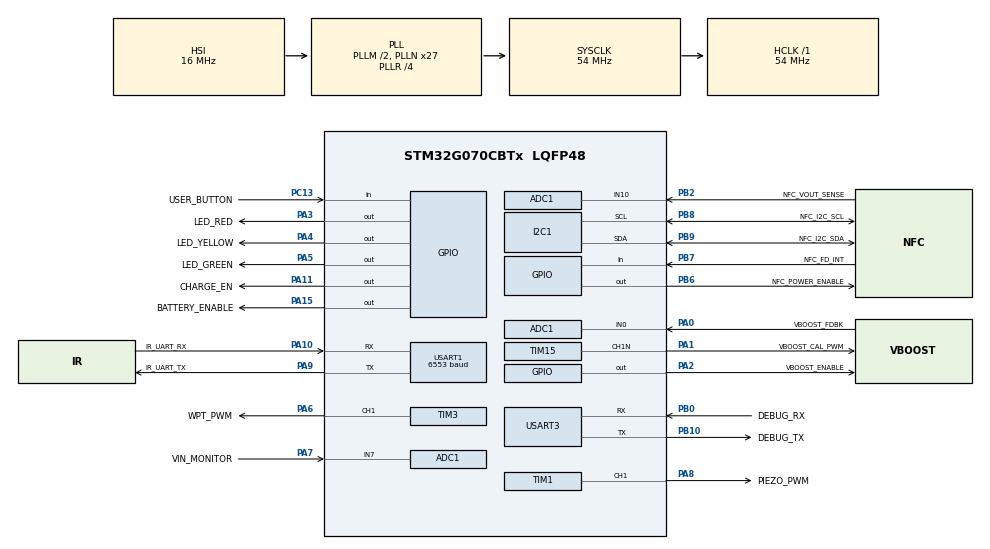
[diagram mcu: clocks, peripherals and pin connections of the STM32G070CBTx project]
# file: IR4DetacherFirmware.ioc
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ADC1.Channel-0\#ChannelRegularConversion=ADC_CHANNEL_10
ADC1.NbrOfConversionFlag=1
ADC1.Rank-0\#ChannelRegularConversion=1
ADC1.SamplingTime-0\#ChannelRegularConversion=ADC_SAMPLINGTIME_COMMON_1
ADC1.SelectedChannel=ADC_CHANNEL_0|ADC_CHANNEL_7|ADC_CHANNEL_10
ADC1.master=1
I2C1.Timing=0x10906999
Mcu.Family=STM32G0
Mcu.Name=STM32G070CBTx
Mcu.Package=LQFP48
NVIC.ADC1_IRQn=true\:0\:0\:false\:false\:true\:true\:true\:false
NVIC.USART1_IRQn=true\:1\:0\:true\:false\:true\:true\:true\:true
NVIC.USART3_4_IRQn=true\:0\:0\:false\:false\:true\:true\:true\:true
PA0.GPIO_Label=VBOOST_FDBK
PA0.Mode=IN0
PA0.Signal=ADC1_IN0
PA1.GPIO_Label=VBOOST_CAL_PWM
PA1.Mode=PWM Generation1 CH1N
PA1.Signal=TIM15_CH1N
PA10.GPIO_Label=IR_UART_RX
PA10.Mode=Asynchronous
PA10.Signal=USART1_RX
PA11\ [PA9].GPIO_Label=CHARGE_EN
PA11\ [PA9].Signal=GPIO_Output
PA13.Mode=Serial_Wire
PA13.Signal=SYS_SWDIO
PA14-BOOT0.Mode=Serial_Wire
PA14-BOOT0.Signal=SYS_SWCLK
PA15.GPIO_Label=BATTERY_ENABLE
PA15.Signal=GPIO_Output
PA2.GPIO_Label=VBOOST_ENABLE
PA2.Signal=GPIO_Output
PA3.GPIO_Label=LED_RED
PA3.Signal=GPIO_Output
PA4.GPIO_Label=LED_YELLOW
PA4.Signal=GPIO_Output
PA5.GPIO_Label=LED_GREEN
PA5.Signal=GPIO_Output
PA6.GPIO_Label=WPT_PWM
PA6.Signal=S_TIM3_CH1
PA7.GPIO_Label=VIN_MONITOR
PA7.Mode=IN7
PA7.Signal=ADC1_IN7
PA8.GPIO_Label=PIEZO_PWM
PA8.Signal=S_TIM1_CH1
PA9.GPIO_Label=IR_UART_TX
PA9.Mode=Asynchronous
PA9.Signal=USART1_TX
PB0.GPIO_Label=DEBUG_RX
PB0.Mode=Asynchronous
PB0.Signal=USART3_RX
PB10.GPIO_Label=DEBUG_TX
PB10.Mode=Asynchronous
PB10.Signal=USART3_TX
PB2.GPIO_Label=NFC_VOUT_SENSE
PB2.Mode=IN10
PB2.Signal=ADC1_IN10
PB6.GPIO_Label=NFC_POWER_ENABLE
PB6.Signal=GPIO_Output
PB7.GPIO_Label=NFC_FD_INT
PB7.Signal=GPIO_Input
PB8.GPIO_Label=NFC_I2C_SCL
PB8.Mode=I2C
PB8.Signal=I2C1_SCL
PB9.GPIO_Label=NFC_I2C_SDA
PB9.Mode=I2C
PB9.Signal=I2C1_SDA
PC13.GPIO_Label=USER_BUTTON
PC13.Signal=GPIO_Input
ProjectManager.HeapSize=0x200
ProjectManager.StackSize=0x400
ProjectManager.TargetToolchain=STM32CubeIDE
RCC.ADCFreq_Value=54000000
RCC.AHBFreq_Value=54000000
RCC.CortexFreq_Value=54000000
RCC.EXTERNAL_CLOCK_VALUE=48000
RCC.HCLKFreq_Value=54000000
RCC.HSE_VALUE=8000000
RCC.HSI_VALUE=16000000
RCC.LSE_VALUE=32768
RCC.PLLM=RCC_PLLM_DIV2
RCC.PLLN=27
RCC.PLLR=RCC_PLLR_DIV4
RCC.SYSCLKFreq_VALUE=54000000
RCC.SYSCLKSource=RCC_SYSCLKSOURCE_PLLCLK
RCC.USBFreq_Value=64000000
RCC.VCOOutputFreq_Value=216000000
SH.S_TIM1_CH1.0=TIM1_CH1,PWM Generation1 CH1
SH.S_TIM3_CH1.0=TIM3_CH1,PWM Generation1 CH1
TIM1.Channel-PWM\ Generation1\ CH1=TIM_CHANNEL_1
TIM1.Period=PIEZO_PWM_ARR_VAL
TIM1.Prescaler=PIEZO_PWM_PRESCALER
TIM1.Pulse-PWM\ Generation1\ CH1=49
TIM15.Channel-PWM\ Generation1\ CH1N=TIM_CHANNEL_1
TIM15.Period=VBOOST_ARR_VAL
TIM15.Prescaler=VBOOST_PRESCALER
TIM15.Pulse-PWM\ Generation1\ CH1N=GetVboostPwmDutyCyclePct()
TIM3.Channel-PWM\ Generation1\ CH1=TIM_CHANNEL_1
TIM3.Period=WPT_PWM_ARR_VAL
TIM3.Prescaler=WPT_PWM_PRESCALER
TIM6.AutoReloadPreload=TIM_AUTORELOAD_PRELOAD_DISABLE
TIM6.Period=0
TIM6.Prescaler=BLOCKING_DELAY_PRESCALER
TIM6.TIM_MasterOutputTrigger=TIM_TRGO_UPDATE
USART1.BaudRate=6553
USART1.VirtualMode-Asynchronous=VM_ASYNC
USART3.VirtualMode-Asynchronous=VM_ASYNC
VP_IWDG_VS_IWDG.Mode=IWDG_Activate
VP_SYS_VS_DBSignals.Mode=DisableDeadBatterySignals
VP_TIM15_VS_ClockSourceINT.Mode=Internal
VP_TIM1_VS_ClockSourceINT.Mode=Internal
VP_TIM3_VS_ClockSourceINT.Mode=Internal
VP_TIM6_VS_ClockSourceINT.Mode=Enable_Timer
board=custom

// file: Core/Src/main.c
/* USER CODE BEGIN Header */
/**
  ******************************************************************************
  * @file           : main.c
  * @brief          : Main program body
  ******************************************************************************
  * @attention
  *
  * Copyright (c) 2025 STMicroelectronics.
  * All rights reserved.
  *
  * This software is licensed under terms that can be found in the LICENSE file
  * in the root directory of this software component.
  * If no LICENSE file comes with this software, it is provided AS-IS.
  *
  ******************************************************************************
  */

/*******************************************************************************************
 * InVue:
 * This file was create by the hardware configuration tool in the STM32CubeIDE. It had been
 * removed from the build using the Resource configurations menu that is accessed by right
 * clicking on this files name in the Core/Src folder.
 *
 * the InVue main.c file resides in the Application/Src folder. It uses  functions from
 * submod-hal_generic to call functions that interface with the STMicro HAL functions.
 * THis is done in the hope that wrapping the HAL functions with the functions externed in
 * folder submod-hal_generic/HAL_Generic will make it easier to port this code to a different
 * processor should that become necessary.
 *
 *******************************************************************************************/

/**********************************
 * File: main.c
 * InVue Security Products
 * Copyright 2025
 **********************************/

/* USER CODE END Header */
#include "main.h"
#include "adc.h"
#include "i2c.h"
#include "iwdg.h"
#include "tim.h"
#include "usart.h"
#include "gpio.h"

/* USER CODE BEGIN Includes */
#include "hal_gpio.h"
#include "hal_timer.h"
#include "hal_watchdog.h"
#include "WptController.h"
#include "periphdefs.h"
#include "UtilDebounce.h"
#include "VboostHandler.h"
#include "audio_controller.h"
#include "ir_key_glue.h"
#include "rtt_debug.h"
#include "AppUart.h"

/* USER CODE END Includes */

/* USER CODE BEGIN PD */
#define LOOP_THROTTLE_INTERVAL (10) // milliseconds

#define AUDIO_TASK_INTERVAL_MS (5)
/* USER CODE END PD */

void SystemClock_Config(void);

int main(void)
{

  /* USER CODE BEGIN 1 */
	static uint32_t TickSinceLastExecution	= 0;
	static uint32_t LastExecutionTickCount		= 0;

	static bool Authorized			= false;
	static bool ValidSdcIsPresent	= false;
	static bool buttonPressed		= false;

	bool chirp = true;

  /* USER CODE END 1 */

  /* MCU Configuration--------------------------------------------------------*/

  /* Reset of all peripherals, Initializes the Flash interface and the Systick. */
  HAL_Init();

  /* USER CODE BEGIN Init */
  #if 0
	/* initialize flash buffer and systick */
	hal_init();
	// HAL_Init(); // TODO: decide which hal init function to use.

	/* initialize the WDT */
	// al_watchdog_init(); TODO: Enable the watch dog?

	/* configure SYSCLK, AHB, APB1 and APB2 to 32MHz for the Murata module requirements */
	SystemClock_Config();

	/* configure part to prevent ESD reset events or other undesirable behavior */
	hal_system_disable_reset_and_nmi_pins();

	/* init GPIO */
	hal_gpio_init();

	/* reset the WDT */
	// hal_watchdog_reset();
 #endif

  /* USER CODE END Init */

  /* Configure the system clock */
  SystemClock_Config();

  /* USER CODE BEGIN SysInit */

  // Update the SystemCoreClock variable. Note that this function must be called any time that the
  // system clock is changed.
  SystemCoreClockUpdate();

  hal_gpio_init();

  MX_I2C1_Init();

  MX_ADC1_Init();

  // The Vboost duty cycle must be retrieved from flash before initializing the VBoost PWM timer.
  GetVBoostVboostPwmDutyCyclePctFromFlash();

  hal_timer_init();

  WptControllerInit();

#if 0
    // TODO: decide what to do with these initialization function call:
	hal_interrupts_enable();
#endif

	irkey_gl_init(IR_INTERFACE_UART_INDEX);

#if 0
	// Call initialization functions setup in the Device COnfiguration Tool.
  /* USER CODE END SysInit */

  /* Initialize all configured peripherals */
  MX_GPIO_Init();
  MX_I2C1_Init();
  MX_USART1_UART_Init();
  MX_TIM1_Init();
  MX_TIM3_Init();
  MX_ADC1_Init();
  MX_IWDG_Init();
  MX_USART3_UART_Init();
  MX_TIM6_Init();
  MX_TIM15_Init();
  /* USER CODE BEGIN 2 */
#endif
  hal_watchdog_init(); // Initialize the the watch dog handle in submod-hal_generic

  /* USER CODE END 2 */

  /* Infinite loop */
  /* USER CODE BEGIN WHILE */
  static uint32_t LastLoopTick = 0;

  static uint32_t TicksinceLastLoop = 0;

  // Turn on the red LED to indicate that we have power but we are not authorized.
  while (1)
  {
	  // Get the number of milliseconds since the last trip through this loop:
	  TicksinceLastLoop = hal_timer_get_ticks_since_count(LastLoopTick);

	  // Get the current sys tick.
	  LastLoopTick = hal_timer_get_systick();

	  /* reset the WDT */
	  hal_watchdog_reset();

	  ac_audio_controller((uint16_t) TicksinceLastLoop);

      UtilDebounceReadAndDebounceInputs();

      TickSinceLastExecution = hal_timer_get_ticks_since_count(LastExecutionTickCount);

	  if (LOOP_THROTTLE_INTERVAL <= TickSinceLastExecution)
	  {
		  irKey_gl_HandleTimers(TickSinceLastExecution);

		  LastExecutionTickCount = hal_timer_get_systick();

		  // Check for NFC activity

		  // Check for IR input activity
#if 0
		  if ((true == IRCommsDetacherIsAuthorized()) && (true == ValidSdcIsPresent))
#endif
		  {
			  /* reset the WDT */
			  hal_watchdog_reset();

			  irkey_gl_key_handler();

			  // check debounced button and interrupt inputs
			  if (false == buttonPressed)
			  {
			      // Check the User Button to see if it was just pressed.
				  if (UtilDebounceCheckPinState(USER_BUTTON,BUTTON_PRESSED) == true)
				  {
#if USE_RTT_FOR_DEBUGGING && DEBUG_MAIN // Note that both of these are #defined to 1 in periphdefs.h.
			debug_rtt_printf("main() The user button has been pressed.\r\n");
#endif
					  buttonPressed = true;

					  // Activate the WPT PWM
					  hal_timer_RunPwAtDutyCycle(TIMER_WPT_PWM, PWM_DEFAULT_DUTY_CYCLE);

					  // Activate Vboost PWM
					  VboostStartPWM();

					  //hal_timer_RunPwAtDutyCycle(TIMER_VBOOST_CAL_PWM, PWM_DEFAULT_DUTY_CYCLE);

					  // Activate Piezo PWM
					  // hal_timer_RunPwAtDutyCycle(TIMER_PIEZO_PWM, PWM_DEFAULT_DUTY_CYCLE);
					  // Do one chirp

					  if (chirp == true)
					  {
					     ac_chirp(1);
					     chirp = false;
					     hal_gpio_set_output(LED_GREEN,true);
					  }
					  else
					  {
						  ac_error_tone(1);
						  chirp = true;
						     hal_gpio_set_output(LED_GREEN,false);
					  }

				  }
			  }
			  else
			  {
				  // Check the User Button to see if it was just release.
				  if (UtilDebounceCheckPinState(USER_BUTTON,BUTTON_RELEASED) == true)
				  {
#if USE_RTT_FOR_DEBUGGING && DEBUG_MAIN // Note that both of these are #defined to 1 in periphdefs.h.
			          debug_rtt_printf("main() The user button has been released.\r\n");
#endif
					  buttonPressed = false;

					  // Stop the WPT PWM
					  hal_timer_StopPwmOutput(TIMER_WPT_PWM);

					  // Stop the Vboost PWM
					  VboostStopPWM();

					  // Stop the Piezo PWM
					  hal_timer_StopPwmOutput(TIMER_PIEZO_PWM);

				  }
			  }
			  // Handle IR key output activity
		  }

	  }

    /* USER CODE END WHILE */

    /* USER CODE BEGIN 3 */
	  hal_watchdog_reset();
  }
  /* USER CODE END 3 */
}

void SystemClock_Config(void)
{
  RCC_OscInitTypeDef RCC_OscInitStruct = {0};
  RCC_ClkInitTypeDef RCC_ClkInitStruct = {0};

  /** Configure the main internal regulator output voltage
  */
  HAL_PWREx_ControlVoltageScaling(PWR_REGULATOR_VOLTAGE_SCALE1);

  /** Initializes the RCC Oscillators according to the specified parameters
  * in the RCC_OscInitTypeDef structure.
  */
  RCC_OscInitStruct.OscillatorType = RCC_OSCILLATORTYPE_HSI|RCC_OSCILLATORTYPE_LSI;
  RCC_OscInitStruct.HSIState = RCC_HSI_ON;
  RCC_OscInitStruct.HSIDiv = RCC_HSI_DIV1;
  RCC_OscInitStruct.HSICalibrationValue = RCC_HSICALIBRATION_DEFAULT;
  RCC_OscInitStruct.LSIState = RCC_LSI_ON;
  RCC_OscInitStruct.PLL.PLLState = RCC_PLL_ON;
  RCC_OscInitStruct.PLL.PLLSource = RCC_PLLSOURCE_HSI;
  RCC_OscInitStruct.PLL.PLLM = RCC_PLLM_DIV2;
  RCC_OscInitStruct.PLL.PLLN = 27;
  RCC_OscInitStruct.PLL.PLLP = RCC_PLLP_DIV2;
  RCC_OscInitStruct.PLL.PLLR = RCC_PLLR_DIV4;
  if (HAL_RCC_OscConfig(&RCC_OscInitStruct) != HAL_OK)
  {
    Error_Handler();
  }

  /** Initializes the CPU, AHB and APB buses clocks
  */
  RCC_ClkInitStruct.ClockType = RCC_CLOCKTYPE_HCLK|RCC_CLOCKTYPE_SYSCLK
                              |RCC_CLOCKTYPE_PCLK1;
  RCC_ClkInitStruct.SYSCLKSource = RCC_SYSCLKSOURCE_PLLCLK;
  RCC_ClkInitStruct.AHBCLKDivider = RCC_SYSCLK_DIV1;
  RCC_ClkInitStruct.APB1CLKDivider = RCC_HCLK_DIV1;

  if (HAL_RCC_ClockConfig(&RCC_ClkInitStruct, FLASH_LATENCY_2) != HAL_OK)
  {
    Error_Handler();
  }
}

void Error_Handler(void)
{
  __disable_irq();
  while (1)
  {
  }
}
